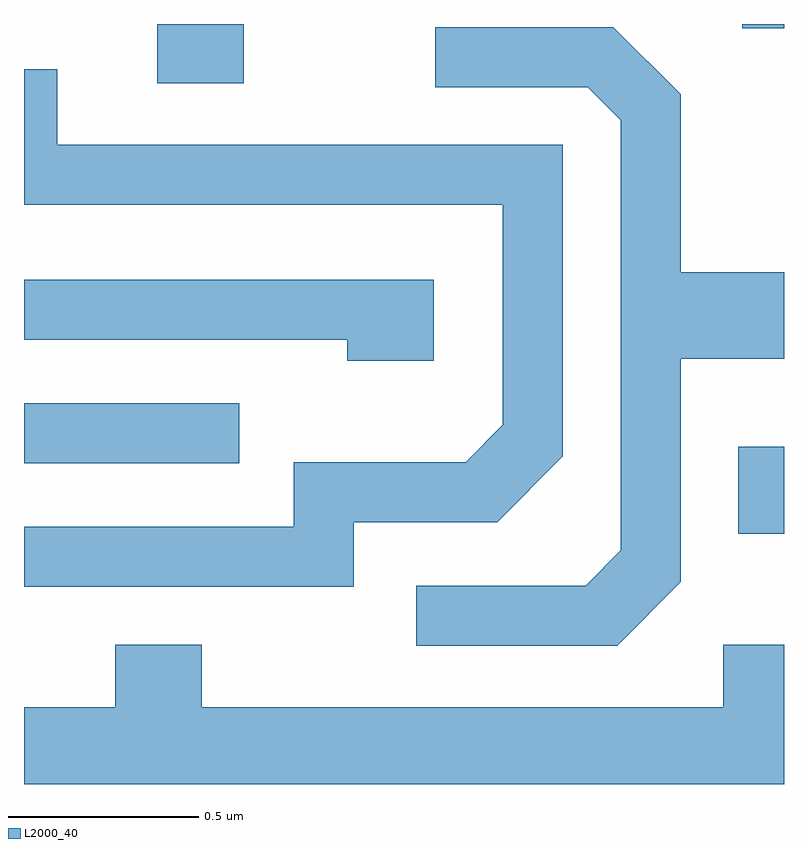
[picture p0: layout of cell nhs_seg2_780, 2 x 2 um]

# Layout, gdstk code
import gdstk
lib = gdstk.Library(unit=1e-6, precision=1e-09)
def R(c, l, rs):  # rectangles x0, y0, x1, y1
    for r in rs: c.add(gdstk.rectangle(r[:2], r[2:], *l))
def P(c, l, *ps):  # polygons
    for p in ps: c.add(gdstk.Polygon(p, *l))
L2000_40 = (2000, 40)

nhs_seg2_780 = lib.new_cell('nhs_seg2_780')
R(nhs_seg2_780, L2000_40, [(192.491,1073.461,192.611,1073.689), (190.611,1073.646,191.178,1073.804), (190.961,1074.646,191.189,1074.802), (192.501,1074.791,192.611,1074.802)])
P(nhs_seg2_780, L2000_40, [(192.339,1073.334),(192.339,1073.921),(192.611,1073.921),(192.611,1074.149),(192.339,1074.149),(192.339,1074.617),(192.162,1074.794),(191.693,1074.794),(191.693,1074.636),(192.094,1074.636),(192.181,1074.549),(192.181,1073.417),(192.089,1073.324),(191.643,1073.324),(191.643,1073.166),(192.172,1073.166)],
  [(191.479,1073.491),(191.857,1073.491),(192.029,1073.664),(192.029,1074.484),(190.699,1074.484),(190.699,1074.683),(190.611,1074.683),(190.611,1074.326),(191.871,1074.326),(191.871,1073.747),(191.774,1073.649),(191.321,1073.649),(191.321,1073.479),(190.611,1073.479),(190.611,1073.321),(191.479,1073.321)],
  [(191.689,1074.129),(190.611,1074.129),(190.611,1073.971),(191.461,1073.971),(191.461,1073.916),(191.689,1073.916)],
  [(192.611,1073.169),(192.451,1073.169),(192.451,1073.004),(191.079,1073.004),(191.079,1073.169),(190.851,1073.169),(190.851,1073.004),(190.611,1073.004),(190.611,1072.802),(192.611,1072.802)])

lib.write_gds('nhs_seg2_780.gds')
